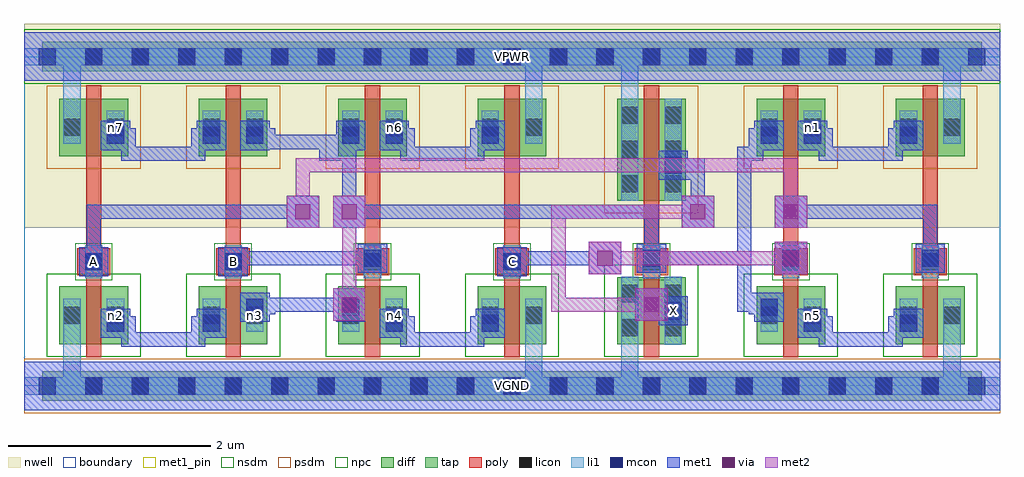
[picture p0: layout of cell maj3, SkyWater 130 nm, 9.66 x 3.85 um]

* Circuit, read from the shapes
.subckt maj3 A B C VGND VPWR X n1 n2 n3 n4 n5 n6 n7
XM1 n2 A VGND VGND sky130_fd_pr__nfet_01v8 w=0.57 l=0.15
XM2 n3 B n2 VGND sky130_fd_pr__nfet_01v8 w=0.57 l=0.15
XM3 n4 B n3 VGND sky130_fd_pr__nfet_01v8 w=0.57 l=0.15
XM4 VGND C n4 VGND sky130_fd_pr__nfet_01v8 w=0.57 l=0.15
XM5 X n3 VGND VGND sky130_fd_pr__nfet_01v8 w=0.66 l=0.15
XM6 n5 C n3 VGND sky130_fd_pr__nfet_01v8 w=0.57 l=0.15
XM7 VGND A n5 VGND sky130_fd_pr__nfet_01v8 w=0.57 l=0.15
XM8 n7 A VPWR VPWR sky130_fd_pr__pfet_01v8 w=0.57 l=0.15
XM9 n3 B n7 VPWR sky130_fd_pr__pfet_01v8 w=0.57 l=0.15
XM10 n6 B n3 VPWR sky130_fd_pr__pfet_01v8 w=0.57 l=0.15
XM11 VPWR C n6 VPWR sky130_fd_pr__pfet_01v8 w=0.57 l=0.15
XM12 X n3 VPWR VPWR sky130_fd_pr__pfet_01v8 w=1.01 l=0.15
XM13 n1 C n3 VPWR sky130_fd_pr__pfet_01v8 w=0.57 l=0.15
XM14 VPWR A n1 VPWR sky130_fd_pr__pfet_01v8 w=0.57 l=0.15
.ends

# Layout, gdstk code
import gdstk
lib = gdstk.Library(unit=1e-6, precision=1e-09)
def R(c, l, rs):  # rectangles x0, y0, x1, y1
    for r in rs: c.add(gdstk.rectangle(r[:2], r[2:], *l))
def A(c, l, x, y, w, h, nx, ny, dx, dy):  # array of equal rectangles
    R(c, l, [(x+i*dx, y+j*dy, x+i*dx+w, y+j*dy+h) for i in range(nx) for j in range(ny)])
nwell = (64, 20)
diff = (65, 20)
tap = (65, 44)
poly = (66, 20)
licon = (66, 44)
li1 = (67, 20)
mcon = (67, 44)
met1_pin = (68, 16)
met1 = (68, 20)
via = (68, 44)
met2 = (69, 20)
nsdm = (93, 44)
psdm = (94, 20)
npc = (95, 20)
boundary = (235, 4)

maj3 = lib.new_cell('maj3')
R(maj3, nwell, [(0,1.565,9.66,3.585)])
A(maj3, diff, 0.35, 0.415, 0.68, 0.57, 4, 2, 1.38, 1.86)
R(maj3, diff, [(5.87,0.415,6.55,1.075), (7.25,0.415,7.93,0.985), (8.63,0.415,9.31,0.985), (5.87,1.835,6.55,2.845), (7.25,2.275,7.93,2.845), (8.63,2.275,9.31,2.845)])
R(maj3, tap, [(0.18,-0.145,9.48,0.145), (0.18,3.115,9.48,3.405)])
A(maj3, poly, 0.615, 0.285, 0.15, 2.69, 7, 1, 1.38, 0)
A(maj3, poly, 0.525, 1.095, 0.33, 0.27, 7, 1, 1.38, 0)
A(maj3, licon, 0.605, -0.085, 0.17, 0.17, 19, 2, 0.46, 3.26)
A(maj3, licon, 0.605, 1.145, 0.17, 0.17, 7, 1, 1.38, 0)
A(maj3, licon, 5.91, 1.915, 0.17, 0.17, 1, 3, 0, 0.34)
A(maj3, licon, 6.34, 1.915, 0.17, 0.17, 1, 3, 0, 0.34)
R(maj3, licon, [(5.91,0.49,6.08,0.66), (6.34,0.49,6.51,0.66), (0.39,0.615,0.56,0.785), (0.82,0.615,0.99,0.785), (1.77,0.615,1.94,0.785), (2.2,0.615,2.37,0.785), (3.15,0.615,3.32,0.785), (3.58,0.615,3.75,0.785), (4.53,0.615,4.7,0.785), (4.96,0.615,5.13,0.785), (7.29,0.615,7.46,0.785), (7.72,0.615,7.89,0.785), (8.67,0.615,8.84,0.785), (9.1,0.615,9.27,0.785), (5.91,0.83,6.08,1), (6.34,0.83,6.51,1), (0.39,2.475,0.56,2.645), (0.82,2.475,0.99,2.645), (1.77,2.475,1.94,2.645), (2.2,2.475,2.37,2.645), (3.15,2.475,3.32,2.645), (3.58,2.475,3.75,2.645), (4.53,2.475,4.7,2.645), (4.96,2.475,5.13,2.645), (7.29,2.475,7.46,2.645), (7.72,2.475,7.89,2.645), (8.67,2.475,8.84,2.645), (9.1,2.475,9.27,2.645)])
A(maj3, li1, 0.605, 1.065, 0.17, 0.33, 7, 1, 1.38, 0)
R(maj3, li1, [(0,-0.085,9.66,0.085), (0.39,-0.085,0.56,0.865), (4.96,-0.085,5.13,0.865), (5.91,-0.085,6.08,1.08), (9.1,-0.085,9.27,0.865), (5.91,0.41,6.08,1.08), (6.34,0.41,6.51,1.08), (0.39,0.535,0.56,0.865), (0.82,0.535,0.99,0.865), (1.77,0.535,1.94,0.865), (2.2,0.535,2.37,0.865), (3.15,0.535,3.32,0.865), (3.58,0.535,3.75,0.865), (4.53,0.535,4.7,0.865), (4.96,0.535,5.13,0.865), (7.29,0.535,7.46,0.865), (7.72,0.535,7.89,0.865), (8.67,0.535,8.84,0.865), (9.1,0.535,9.27,0.865), (5.91,1.835,6.08,2.845), (5.91,1.835,6.08,3.345), (6.34,1.835,6.51,2.845), (0.39,2.395,0.56,2.725), (0.39,2.395,0.56,3.345), (0.82,2.395,0.99,2.725), (1.77,2.395,1.94,2.725), (2.2,2.395,2.37,2.725), (3.15,2.395,3.32,2.725), (3.58,2.395,3.75,2.725), (4.53,2.395,4.7,2.725), (4.96,2.395,5.13,2.725), (4.96,2.395,5.13,3.345), (7.29,2.395,7.46,2.725), (7.72,2.395,7.89,2.725), (8.67,2.395,8.84,2.725), (9.1,2.395,9.27,2.725), (9.1,2.395,9.27,3.345), (0,3.175,9.66,3.345)])
A(maj3, mcon, 0.145, -0.085, 0.17, 0.17, 21, 2, 0.46, 3.26)
A(maj3, mcon, 6.125, 1.18, 0.17, 0.17, 3, 1, 1.38, 0)
R(maj3, mcon, [(0.82,0.535,0.99,0.705), (1.77,0.535,1.94,0.705), (3.58,0.535,3.75,0.705), (4.53,0.535,4.7,0.705), (7.72,0.535,7.89,0.705), (8.67,0.535,8.84,0.705), (6.34,0.66,6.51,0.83), (2.2,0.695,2.37,0.865), (3.15,0.695,3.32,0.865), (7.29,0.695,7.46,0.865), (0.605,1.145,0.775,1.315), (1.985,1.145,2.155,1.315), (4.745,1.145,4.915,1.315), (3.365,1.18,3.535,1.35), (6.34,2.1,6.51,2.27), (0.82,2.395,0.99,2.565), (1.77,2.395,1.94,2.565), (2.2,2.395,2.37,2.565), (3.15,2.395,3.32,2.565), (3.58,2.395,3.75,2.565), (4.53,2.395,4.7,2.565), (7.29,2.395,7.46,2.565), (7.72,2.395,7.89,2.565), (8.67,2.395,8.84,2.565)])
R(maj3, met1_pin, [(0,-0.24,9.66,0.24), (6.28,0.6,6.57,0.89), (0.545,1.085,0.835,1.375), (1.925,1.085,2.215,1.375), (4.685,1.085,4.975,1.375), (0,3.02,9.66,3.5)])
A(maj3, met1, 6.065, 1.12, 0.29, 0.29, 3, 1, 1.38, 0)
A(maj3, met1, 7.175, 2.23, 0.14, 0.32, 3, 1, 0.69, 0)
R(maj3, met1, [(0,-0.24,9.66,0.24), (0.965,0.39,1.795,0.53), (0.965,0.39,1.105,0.69), (1.655,0.39,1.795,0.69), (3.725,0.39,4.555,0.53), (3.725,0.39,3.865,0.69), (4.415,0.39,4.555,0.69), (7.865,0.39,8.695,0.53), (7.865,0.39,8.005,0.69), (8.555,0.39,8.695,0.69), (0.76,0.475,1.05,0.765), (1.71,0.475,2,0.765), (3.52,0.475,3.81,0.765), (4.47,0.475,4.76,0.765), (7.66,0.475,7.95,0.765), (8.61,0.475,8.9,0.765), (0.835,0.55,1.105,0.69), (1.655,0.55,1.925,0.69), (3.595,0.55,3.865,0.69), (4.415,0.55,4.685,0.69), (7.735,0.55,8.005,0.69), (8.555,0.55,8.825,0.69), (6.28,0.6,6.57,0.89), (2.14,0.635,2.43,0.925), (3.09,0.635,3.38,0.925), (7.23,0.635,7.52,0.925), (3.06,0.645,3.38,0.965), (6.05,0.645,6.37,0.965), (2.215,0.71,2.485,0.85), (2.345,0.71,2.485,0.875), (3.15,0.71,3.305,0.85), (3.15,0.71,3.29,0.875), (7.175,0.71,7.445,0.85), (7.175,0.71,7.315,0.875), (2.345,0.735,3.29,0.875), (6.14,0.735,6.51,0.875), (6.37,0.735,6.51,0.875), (7.06,0.735,7.2,1.335), (7.06,0.735,7.315,0.875), (7.2,0.735,7.23,0.925), (0.545,1.085,0.835,1.375), (1.925,1.085,2.215,1.375), (4.685,1.085,4.975,1.375), (5.59,1.105,5.91,1.425), (7.43,1.105,7.75,1.425), (3.305,1.12,3.595,1.41), (0.62,1.195,0.76,1.795), (0.62,1.195,0.76,1.335), (2,1.195,2.14,1.335), (2,1.195,3.52,1.335), (4.76,1.195,4.9,1.335), (4.76,1.195,5.82,1.335), (6.14,1.195,6.28,1.795), (6.14,1.195,7.2,1.335), (7.06,1.195,7.2,2.37), (8.9,1.195,9.04,1.795), (2.6,1.565,2.92,1.885), (3.06,1.565,3.38,1.885), (6.51,1.565,6.83,1.885), (7.43,1.565,7.75,1.885), (0.62,1.655,2.83,1.795), (3.15,1.655,6.28,1.795), (3.15,1.655,3.29,2.37), (6.6,1.655,6.74,2.255), (7.52,1.655,9.04,1.795), (6.28,2.04,6.57,2.33), (6.57,2.04,6.6,2.255), (6.355,2.115,6.625,2.255), (6.485,2.115,6.74,2.255), (0.965,2.23,1.105,2.55), (0.965,2.23,1.795,2.37), (1.655,2.23,1.795,2.55), (2.92,2.23,3.29,2.37), (2.92,2.23,3.06,2.485), (3.06,2.23,3.15,2.485), (3.15,2.23,3.29,2.55), (3.725,2.23,3.865,2.55), (3.725,2.23,4.555,2.37), (4.415,2.23,4.555,2.55), (7.06,2.23,7.315,2.37), (7.865,2.23,8.695,2.37), (0.76,2.335,1.05,2.625), (1.71,2.335,2,2.625), (2.14,2.335,2.43,2.625), (3.06,2.335,3.09,2.485), (3.09,2.335,3.38,2.625), (3.52,2.335,3.81,2.625), (4.47,2.335,4.76,2.625), (7.23,2.335,7.52,2.625), (7.66,2.335,7.95,2.625), (8.61,2.335,8.9,2.625), (2.345,2.345,2.485,2.55), (2.345,2.345,3.06,2.485), (3.06,2.345,3.09,2.485), (3.06,2.345,3.15,2.485), (0.835,2.41,1.105,2.55), (1.655,2.41,1.925,2.55), (2.215,2.41,2.485,2.55), (3.06,2.41,3.15,2.485), (3.15,2.41,3.305,2.55), (3.595,2.41,3.865,2.55), (4.415,2.41,4.685,2.55), (7.175,2.41,7.445,2.55), (7.735,2.41,8.005,2.55), (8.555,2.41,8.825,2.55), (0,3.02,9.66,3.5)])
R(maj3, via, [(3.145,0.73,3.295,0.88), (6.135,0.73,6.285,0.88), (5.675,1.19,5.825,1.34), (7.515,1.19,7.665,1.34), (2.685,1.65,2.835,1.8), (3.145,1.65,3.295,1.8), (6.595,1.65,6.745,1.8), (7.515,1.65,7.665,1.8)])
R(maj3, met2, [(3.06,0.645,3.38,0.965), (6.05,0.645,6.37,0.965), (3.15,0.735,3.29,1.795), (5.22,0.735,5.36,1.795), (5.22,0.735,6.28,0.875), (5.59,1.105,5.91,1.425), (7.43,1.105,7.75,1.425), (5.68,1.195,7.66,1.335), (2.6,1.565,2.92,1.885), (3.06,1.565,3.38,1.885), (6.51,1.565,6.83,1.885), (7.43,1.565,7.75,1.885), (2.69,1.655,2.83,2.255), (5.22,1.655,6.74,1.795), (7.52,1.655,7.66,2.255), (2.69,2.115,7.66,2.255)])
A(maj3, nsdm, 0.225, 0.29, 0.93, 0.82, 4, 1, 1.38, 0)
R(maj3, nsdm, [(5.745,0.29,6.675,1.2), (7.125,0.29,8.055,1.11), (8.505,0.29,9.435,1.11), (0,2.99,9.66,3.53)])
A(maj3, psdm, 0.225, 2.15, 0.93, 0.82, 4, 1, 1.38, 0)
R(maj3, psdm, [(0,-0.27,9.66,0.27), (5.745,1.71,6.675,2.97), (7.125,2.15,8.055,2.97), (8.505,2.15,9.435,2.97)])
A(maj3, npc, 0.505, 1.045, 0.37, 0.37, 7, 1, 1.38, 0)
R(maj3, boundary, [(0,0,9.66,3.26)])
maj3.add(gdstk.Label('n2', (0.905,0.7), layer=67, texttype=5))
maj3.add(gdstk.Label('n7', (0.905,2.56), layer=67, texttype=5))
maj3.add(gdstk.Label('n3', (2.285,0.7), layer=67, texttype=5))
maj3.add(gdstk.Label('n4', (3.665,0.7), layer=67, texttype=5))
maj3.add(gdstk.Label('n6', (3.665,2.56), layer=67, texttype=5))
maj3.add(gdstk.Label('n5', (7.805,0.7), layer=67, texttype=5))
maj3.add(gdstk.Label('n1', (7.805,2.56), layer=67, texttype=5))
maj3.add(gdstk.Label('A', (0.69,1.23), layer=68, texttype=5))
maj3.add(gdstk.Label('B', (2.07,1.23), layer=68, texttype=5))
maj3.add(gdstk.Label('C', (4.83,1.23), layer=68, texttype=5))
maj3.add(gdstk.Label('X', (6.425,0.745), layer=68, texttype=5))
maj3.add(gdstk.Label('VPWR', (4.83,3.26), layer=68, texttype=5))
maj3.add(gdstk.Label('VGND', (4.83,0), layer=68, texttype=5))
maj3.add(gdstk.Label('A', (0.69,1.23), layer=68, texttype=16))
maj3.add(gdstk.Label('B', (2.07,1.23), layer=68, texttype=16))
maj3.add(gdstk.Label('C', (4.83,1.23), layer=68, texttype=16))
maj3.add(gdstk.Label('X', (6.425,0.745), layer=68, texttype=16))
maj3.add(gdstk.Label('VPWR', (4.83,3.26), layer=68, texttype=16))
maj3.add(gdstk.Label('VGND', (4.83,0), layer=68, texttype=16))

lib.write_gds('maj3.gds')
